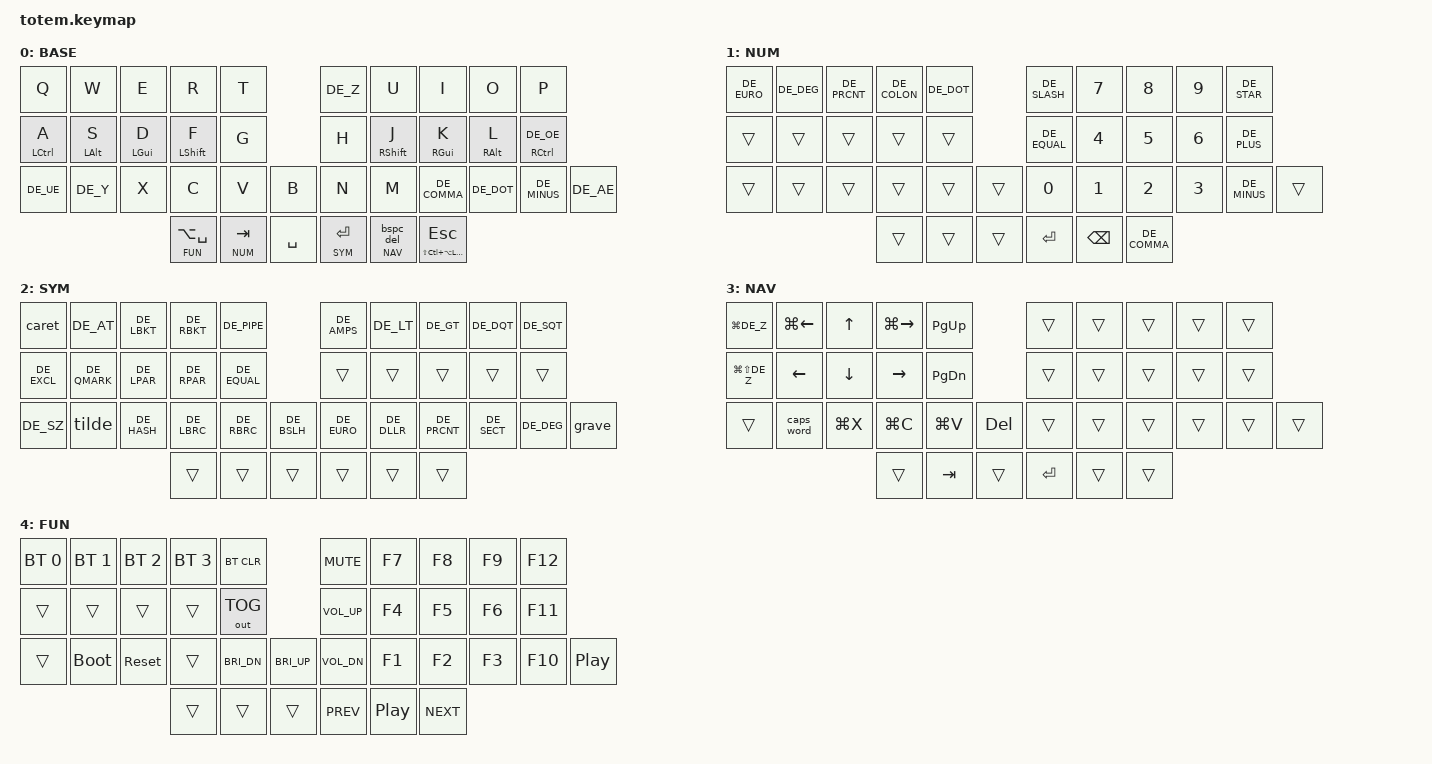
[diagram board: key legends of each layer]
/*
 * TOTEM — Keymap Johannes (QWERTZ, deutsches Layout, macOS)
 *
 * Positionen (für hold-trigger-key-positions):
 *
 *        0   1   2   3   4        5   6   7   8   9
 *       10  11  12  13  14       15  16  17  18  19
 *   20  21  22  23  24  25       26  27  28  29  30  31
 *               32  33  34       35  36  37
 *
 * Daumen links:  32 Raycast/FUN   33 Tab/NUM   34 Space
 * Daumen rechts: 35 Enter/SYM     36 Bspc/NAV  37 Esc/HYPER
 *
 * Prinzip (Miryoku): Layer-Daumen auf der einen Hand, Ziel-Tasten auf der
 * anderen. Home-Row-Mods bleiben auf der Layer-Hand aktiv (&trans), damit
 * z. B. NAV + rechtes Shift + Pfeil (Textauswahl) oder NUM + Cmd + Ziffer geht.
 */

#include <behaviors.dtsi>
#include <dt-bindings/zmk/keys.h>
#include <dt-bindings/zmk/bt.h>
#include <dt-bindings/zmk/outputs.h>
#include "de_mac.h"

#define BASE 0
#define NUM  1
#define SYM  2
#define NAV  3
#define FUN  4

#define KEYS_L 0 1 2 3 4 10 11 12 13 14 20 21 22 23 24 25
#define KEYS_R 5 6 7 8 9 15 16 17 18 19 26 27 28 29 30 31
#define THUMBS 32 33 34 35 36 37

#define HYPER   LS(LC(LA(LGUI)))   /* ⌃⌥⇧⌘ — in Raycast als Hotkey-Modifier nutzen */
#define HYP(k)  LS(LC(LA(LG(k))))  /* Hyper + beliebige Taste, z. B. &kp HYP(UP) */
#define RAYCAST LA(SPACE)          /* ⌥ Space */

/* Layer-Tap-Daumen: balanced + quick-tap (Tap-dann-Halten = Auto-Repeat) */
&lt {
    flavor = "balanced";
    tapping-term-ms = <200>;
    quick-tap-ms = <175>;
};

&mt {
    flavor = "balanced";
    tapping-term-ms = <200>;
    quick-tap-ms = <175>;
};

/* Caps Word: "-" (auf DE = HID SLASH) beendet das Caps Word nicht */
&caps_word {
    continue-list = <SLASH BSPC DEL>;
};

/ {
    behaviors {
        /* "Timeless" Home-Row-Mods nach urob: Hold nur bei Gegenhand-Taste */
        hml: home_row_mod_left {
            compatible = "zmk,behavior-hold-tap";
            #binding-cells = <2>;
            flavor = "balanced";
            tapping-term-ms = <280>;
            quick-tap-ms = <175>;
            require-prior-idle-ms = <150>;
            bindings = <&kp>, <&kp>;
            hold-trigger-key-positions = <KEYS_R THUMBS>;
            hold-trigger-on-release;
        };

        hmr: home_row_mod_right {
            compatible = "zmk,behavior-hold-tap";
            #binding-cells = <2>;
            flavor = "balanced";
            tapping-term-ms = <280>;
            quick-tap-ms = <175>;
            require-prior-idle-ms = <150>;
            bindings = <&kp>, <&kp>;
            hold-trigger-key-positions = <KEYS_L THUMBS>;
            hold-trigger-on-release;
        };

        /* Shift + Backspace = Delete */
        bspc_del: backspace_delete {
            compatible = "zmk,behavior-mod-morph";
            #binding-cells = <0>;
            bindings = <&kp BACKSPACE>, <&kp DELETE>;
            mods = <(MOD_LSFT|MOD_RSFT)>;
        };

        /* Daumen rechts Mitte: Tap Backspace (Shift: Delete), Halten NAV */
        nav_bspc: nav_backspace {
            compatible = "zmk,behavior-hold-tap";
            #binding-cells = <2>;
            flavor = "balanced";
            tapping-term-ms = <200>;
            quick-tap-ms = <175>;
            bindings = <&mo>, <&bspc_del>;
        };
    };

    /* Dead Keys auf DE: Zeichen + Space, damit sofort ~ ^ ` erscheint */
    macros {
        tilde: tilde {
            compatible = "zmk,behavior-macro";
            #binding-cells = <0>;
            wait-ms = <0>;
            tap-ms = <5>;
            bindings = <&kp DE_TILDE_DEAD &kp SPACE>;
        };
        caret: caret {
            compatible = "zmk,behavior-macro";
            #binding-cells = <0>;
            wait-ms = <0>;
            tap-ms = <5>;
            bindings = <&kp DE_CARET_DEAD &kp SPACE>;
        };
        grave: grave {
            compatible = "zmk,behavior-macro";
            #binding-cells = <0>;
            wait-ms = <0>;
            tap-ms = <5>;
            bindings = <&kp DE_GRAVE_DEAD &kp SPACE>;
        };
    };

    keymap {
        compatible = "zmk,keymap";

// ┌───────┬───────┬───────┬───────┬───────┐   ┌───────┬───────┬───────┬───────┬───────┐
// │   Q   │   W   │   E   │   R   │   T   │   │   Z   │   U   │   I   │   O   │   P   │
// ├───────┼───────┼───────┼───────┼───────┤   ├───────┼───────┼───────┼───────┼───────┤
// │ A ctl │ S alt │ D cmd │ F sft │   G   │   │   H   │ J sft │ K cmd │ L alt │ Ö ctl │
// ┌───────┼───────┼───────┼───────┼───────┼───────┤   ├───────┼───────┼───────┼───────┼───────┼───────┐
// │   Ü   │   Y   │   X   │   C   │   V   │   B   │   │   N   │   M   │   ,   │   .   │   -   │   Ä   │
// └───────┴───────┴───────┼───────┼───────┼───────┤   ├───────┼───────┼───────┼───────┴───────┴───────┘
//                         │Raycast│  Tab  │ Space │   │ Enter │ Bspc  │  Esc  │
//                         │  FUN  │  NUM  │       │   │  SYM  │  NAV  │ HYPER │
//                         └───────┴───────┴───────┘   └───────┴───────┴───────┘
        base_layer {
            display-name = "BASE";
            bindings = <
    &kp Q         &kp W         &kp E         &kp R         &kp T             &kp DE_Z      &kp U         &kp I         &kp O         &kp P
    &hml LCTRL A  &hml LALT S   &hml LGUI D   &hml LSHFT F  &kp G             &kp H         &hmr RSHFT J  &hmr RGUI K   &hmr RALT L   &hmr RCTRL DE_OE
&kp DE_UE  &kp DE_Y  &kp X    &kp C         &kp V         &kp B             &kp N         &kp M         &kp DE_COMMA  &kp DE_DOT    &kp DE_MINUS  &kp DE_AE
                                &lt FUN RAYCAST &lt NUM TAB &kp SPACE       &lt SYM RET   &nav_bspc NAV 0  &mt HYPER ESC
            >;
        };

// NUM — Tab halten (linker Daumen) → Numpad rechts
// ┌───────┬───────┬───────┬───────┬───────┐   ┌───────┬───────┬───────┬───────┬───────┐
// │   €   │   °   │   %   │   :   │   .   │   │   /   │   7   │   8   │   9   │   *   │
// ├───────┼───────┼───────┼───────┼───────┤   ├───────┼───────┼───────┼───────┼───────┤
// │  ctl  │  alt  │  cmd  │  sft  │       │   │   =   │   4   │   5   │   6   │   +   │
// ┌───────┼───────┼───────┼───────┼───────┼───────┤   ├───────┼───────┼───────┼───────┼───────┼───────┐
// │       │       │       │       │       │       │   │   0   │   1   │   2   │   3   │   -   │       │
// └───────┴───────┴───────┼───────┼───────┼───────┤   ├───────┼───────┼───────┼───────┴───────┴───────┘
//                         │       │ (NUM) │       │   │ Enter │ Bspc  │   ,   │
//                         └───────┴───────┴───────┘   └───────┴───────┴───────┘
        num_layer {
            display-name = "NUM";
            bindings = <
    &kp DE_EURO   &kp DE_DEG    &kp DE_PRCNT  &kp DE_COLON  &kp DE_DOT        &kp DE_SLASH  &kp N7        &kp N8        &kp N9        &kp DE_STAR
    &trans        &trans        &trans        &trans        &trans            &kp DE_EQUAL  &kp N4        &kp N5        &kp N6        &kp DE_PLUS
&trans     &trans    &trans   &trans        &trans        &trans            &kp N0        &kp N1        &kp N2        &kp N3        &kp DE_MINUS  &trans
                                &trans        &trans        &trans            &kp RET       &kp BSPC      &kp DE_COMMA
            >;
        };

// SYM — Enter halten (rechter Daumen) → Symbole links
// ┌───────┬───────┬───────┬───────┬───────┐   ┌───────┬───────┬───────┬───────┬───────┐
// │   ^   │   @   │   [   │   ]   │   |   │   │   &   │   <   │   >   │   "   │   '   │
// ├───────┼───────┼───────┼───────┼───────┤   ├───────┼───────┼───────┼───────┼───────┤
// │   !   │   ?   │   (   │   )   │   =   │   │       │  sft  │  cmd  │  alt  │  ctl  │
// ┌───────┼───────┼───────┼───────┼───────┼───────┼───────┤   ├───────┼───────┼───────┼───────┼───────┼───────┐
// │   ß   │   ~   │   #   │   {   │   }   │   \   │   │   €   │   $   │   %   │   §   │   °   │   `   │
// └───────┴───────┴───────┼───────┼───────┼───────┤   ├───────┼───────┼───────┼───────┴───────┴───────┘
//                         │       │       │       │   │ (SYM) │ Bspc  │  Esc  │
//                         └───────┴───────┴───────┘   └───────┴───────┴───────┘
        sym_layer {
            display-name = "SYM";
            bindings = <
    &caret        &kp DE_AT     &kp DE_LBKT   &kp DE_RBKT   &kp DE_PIPE       &kp DE_AMPS   &kp DE_LT     &kp DE_GT     &kp DE_DQT    &kp DE_SQT
    &kp DE_EXCL   &kp DE_QMARK  &kp DE_LPAR   &kp DE_RPAR   &kp DE_EQUAL      &trans        &trans        &trans        &trans        &trans
&kp DE_SZ  &tilde    &kp DE_HASH &kp DE_LBRC &kp DE_RBRC   &kp DE_BSLH       &kp DE_EURO   &kp DE_DLLR   &kp DE_PRCNT  &kp DE_SECT   &kp DE_DEG    &grave
                                &trans        &trans        &trans            &trans        &trans        &trans
            >;
        };

// NAV — Backspace halten (rechter Daumen) → Navigation links
// ┌───────┬───────┬───────┬───────┬───────┐   ┌───────┬───────┬───────┬───────┬───────┐
// │  ⌘Z   │ Home  │   ↑   │  End  │ PgUp  │   │       │       │       │       │       │
// ├───────┼───────┼───────┼───────┼───────┤   ├───────┼───────┼───────┼───────┼───────┤
// │ ⌘⇧Z   │   ←   │   ↓   │   →   │ PgDn  │   │       │  sft  │  cmd  │  alt  │  ctl  │
// ┌───────┼───────┼───────┼───────┼───────┼───────┤   ├───────┼───────┼───────┼───────┼───────┼───────┐
// │       │CapsWrd│  ⌘X   │  ⌘C   │  ⌘V   │  Del  │   │       │       │       │       │       │       │
// └───────┴───────┴───────┼───────┼───────┼───────┤   ├───────┼───────┼───────┼───────┴───────┴───────┘
//                         │       │  Tab  │ Space │   │ Enter │ (NAV) │  Esc  │
//                         └───────┴───────┴───────┘   └───────┴───────┴───────┘
        nav_layer {
            display-name = "NAV";
            bindings = <
    &kp LG(DE_Z)  &kp LG(LEFT)  &kp UP        &kp LG(RIGHT) &kp PG_UP         &trans        &trans        &trans        &trans        &trans
    &kp LG(LS(DE_Z)) &kp LEFT   &kp DOWN      &kp RIGHT     &kp PG_DN         &trans        &trans        &trans        &trans        &trans
&trans     &caps_word &kp LG(X) &kp LG(C)     &kp LG(V)     &kp DEL           &trans        &trans        &trans        &trans        &trans        &trans
                                &trans        &kp TAB       &trans            &kp RET       &trans        &trans
            >;
        };

// FUN — Raycast halten (linker Daumen) → F-Tasten/Medien rechts, System links
// ┌───────┬───────┬───────┬───────┬───────┐   ┌───────┬───────┬───────┬───────┬───────┐
// │  BT0  │  BT1  │  BT2  │  BT3  │BT CLR │   │ Mute  │  F7   │  F8   │  F9   │  F12  │
// ├───────┼───────┼───────┼───────┼───────┤   ├───────┼───────┼───────┼───────┼───────┤
// │  ctl  │  alt  │  cmd  │  sft  │USB/BT │   │ Vol+  │  F4   │  F5   │  F6   │  F11  │
// ┌───────┼───────┼───────┼───────┼───────┼───────┤   ├───────┼───────┼───────┼───────┼───────┼───────┐
// │       │ BOOT  │ RESET │       │ Bri-  │ Bri+  │   │ Vol-  │  F1   │  F2   │  F3   │  F10  │ Play  │
// └───────┴───────┴───────┼───────┼───────┼───────┤   ├───────┼───────┼───────┼───────┴───────┴───────┘
//                         │ (FUN) │       │       │   │  Prev │ Play  │ Next  │
//                         └───────┴───────┴───────┘   └───────┴───────┴───────┘
        fun_layer {
            display-name = "FUN";
            bindings = <
    &bt BT_SEL 0  &bt BT_SEL 1  &bt BT_SEL 2  &bt BT_SEL 3  &bt BT_CLR        &kp C_MUTE    &kp F7        &kp F8        &kp F9        &kp F12
    &trans        &trans        &trans        &trans        &out OUT_TOG      &kp C_VOL_UP  &kp F4        &kp F5        &kp F6        &kp F11
&trans     &bootloader &sys_reset &trans     &kp C_BRI_DN  &kp C_BRI_UP      &kp C_VOL_DN  &kp F1        &kp F2        &kp F3        &kp F10       &kp C_PP
                                &trans        &trans        &trans            &kp C_PREV    &kp C_PP      &kp C_NEXT
            >;
        };
    };
};
